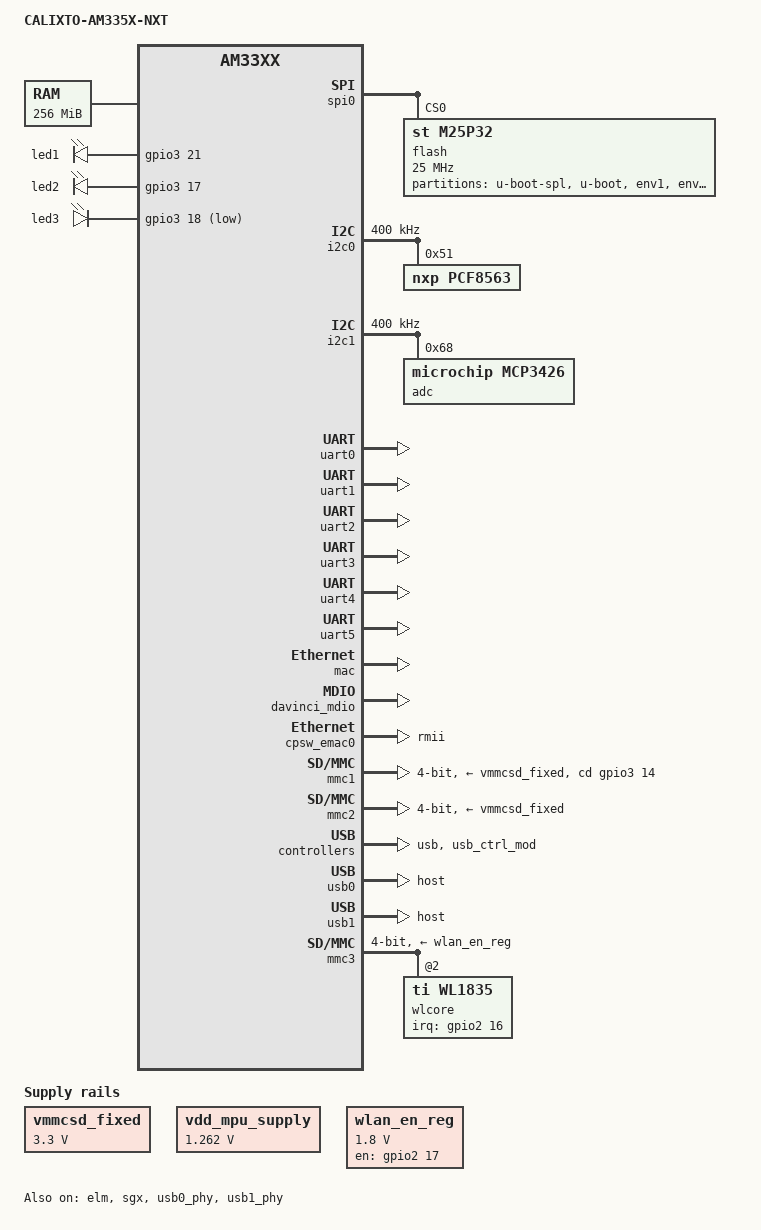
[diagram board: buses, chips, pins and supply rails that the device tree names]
/*
 * Copyright (C) 2014 Calixto Systems Pvt Ltd - http://www.calixto.co.in/
 *
 * This program is free software; you can redistribute it and/or modify
 * it under the terms of the GNU General Public License version 2 as
 * published by the Free Software Foundation.
 */

/*
 * AM335x CALIXTO STAMP EVM
 * http:// http://www.calixto.co.in/
 * Modified from am335x-evmsk
 * Modified by Jithin Shyam <jithin.s@calixto.in>
 */

/dts-v1/;

#include "am33xx.dtsi"
#include <dt-bindings/pwm/pwm.h>
#include <dt-bindings/interrupt-controller/irq.h>

/ {
	model = "CALIXTO-AM335X-NXT";
	compatible = "ti,am335x-calixto-nxt", "ti,am33xx";

	cpus {
		cpu@0 {
			 cpu0-supply = <&vdd_mpu_supply>;
		};
	};

	memory {
		device_type = "memory";
		reg = <0x80000000 0x10000000>; /* 256MB */
	};

	vmmcsd_fixed: fixedregulator-sd {
		compatible = "regulator-fixed";
		regulator-name = "vmmcsd_fixed";
		regulator-min-microvolt = <3300000>;
		regulator-max-microvolt = <3300000>;
		enable-active-high;
	};

	vdd_mpu_supply: fixedregulator-mpu {
		compatible = "regulator-fixed";
		regulator-name = "vdd_mpu_supply";
		regulator-min-microvolt = <1262000>;
		regulator-max-microvolt = <1262000>;
		regulator-boot-on;
	};

	wlan_en_reg: fixedregulator@3 {
		compatible = "regulator-fixed";
		regulator-name = "wlan-en-regulator";
		regulator-min-microvolt = <1800000>;
		regulator-max-microvolt = <1800000>;

		/* WL_EN */
		gpio = <&gpio2 17 GPIO_ACTIVE_HIGH>;
		enable-active-high;
		
		/* startup-delay-us = <70000>; */

	};
	
	leds {
		pinctrl-names = "default", "sleep";
		pinctrl-0 = <&user_leds_default>;
		pinctrl-1 = <&user_leds_sleep>;

		compatible = "gpio-leds";

		led@1 {
			label = "led1";
			gpios = <&gpio3 21 GPIO_ACTIVE_HIGH>;
			linux,default-trigger = "heartbeat";
			default-state = "on";
		};
		led@2 {
			label = "led2";
			gpios = <&gpio3 17 GPIO_ACTIVE_HIGH>;
			linux,default-trigger = "heartbeat";
			default-state = "on";
		};
		led@3 {
			label = "led3";
			gpios = <&gpio3 18 GPIO_ACTIVE_LOW>;
			linux,default-trigger = "low";
			default-state = "on";
		};

	};

	gpio_buttons: gpio_buttons@0 {
		compatible = "gpio-keys";
		pinctrl-names = "default";
		pinctrl-0 = <&gpio_keys_s0>;
		#address-cells = <1>;
		#size-cells = <0>;


	};
};


&am33xx_pinmux {

	pinctrl-names = "default";
	pinctrl-0 = <&clkout2_pin>;

	mmc3_pins_default: mmc3_pins_default {
		pinctrl-single,pins = <
			0x8c  ( PIN_INPUT_PULLUP | MUX_MODE3 ) /* (V12) gpmc_clk.mmc2_clk */
			0x88  ( PIN_INPUT_PULLUP | MUX_MODE3 ) /* (T13) gpmc_csn3.mmc2_cmd */
			0x118 ( PIN_INPUT_PULLUP | MUX_MODE5 ) /* (J17) gmii1_rxdv.mmc2_dat0 */
			0x48  ( PIN_INPUT_PULLUP | MUX_MODE3 ) /* (U14) gpmc_a2.mmc2_dat1 */
			0x4c  ( PIN_INPUT_PULLUP | MUX_MODE3 ) /* (T14) gpmc_a3.mmc2_dat2 */
			0x108 ( PIN_INPUT_PULLUP | MUX_MODE5 ) /* (H16) gmii1_col.mmc2_dat3 */
		>;
	};

	mmc3_pins_sleep: mmc3_pins_sleep {
		pinctrl-single,pins = <
			0x8c  ( PIN_INPUT_PULLDOWN | MUX_MODE7 ) /* (V12) gpmc_clk.mmc2_clk */
			0x88  ( PIN_INPUT_PULLDOWN | MUX_MODE7 ) /* (T13) gpmc_csn3.mmc2_cmd */
			0x118 ( PIN_INPUT_PULLDOWN | MUX_MODE7 ) /* (J17) gmii1_rxdv.mmc2_dat0 */
			0x48  ( PIN_INPUT_PULLDOWN | MUX_MODE7 ) /* (J18) gmii1_txd3.mmc2_dat1 */
			0x4c  ( PIN_INPUT_PULLDOWN | MUX_MODE7 ) /* (K15) gmii1_txd2.mmc2_dat2 */
			0x108 ( PIN_INPUT_PULLDOWN | MUX_MODE7 ) /* (H16) gmii1_col.mmc2_dat3 */
		>;
	};


	/* wl18xx enable/irq GPIOs. */
	wlan_pins_default: wlan_pins_default {
		pinctrl-single,pins = <
			0xc8 ( PIN_INPUT | MUX_MODE7 ) /* (U3) lcd_data10.gpio2[16] WLAN_IRQ*/
			0xcc ( PIN_OUTPUT | MUX_MODE7 ) /* (U4) lcd_data11.gpio2[17] WLAN_EN*/
		>;
	};

	/* wl18xx enable/irq GPIOs. */
	wlan_pins_sleep: wlan_pins_sleep {
		pinctrl-single,pins = <
			0xc8 ( PIN_INPUT_PULLDOWN | MUX_MODE7  ) /* (U3) lcd_data10.gpio2[16] WLAN_IRQ */
			0xcc ( PIN_INPUT_PULLDOWN | MUX_MODE7  ) /* (U4) lcd_data11.gpio2[17] WLAN_EN  */
		>;
	};

	user_leds_default: user_leds_default {
		pinctrl-single,pins = <                       
			0x194 ( PIN_OUTPUT_PULLDOWN | MUX_MODE7 ) /* (B13) mcasp0_fsx.gpio3[15] 3.7V EN*/
			0x19c ( PIN_OUTPUT_PULLDOWN | MUX_MODE7 ) /* (C12) mcasp0_ahclkr.gpio3[17] LED2*/
			0x1ac ( PIN_OUTPUT_PULLDOWN | MUX_MODE7 ) /* (A14) mcasp0_ahclkx.gpio3[21] LED1*/
			0xe0 ( PIN_OUTPUT_PULLDOWN | MUX_MODE7 ) /* (U5) lcd_vsync.gpio2[22] Relay 1*/
			0xe4 ( PIN_OUTPUT_PULLDOWN | MUX_MODE7 ) /* (R5) lcd_hsync.gpio2[23] Relay 2*/
		>;
	};

	user_leds_sleep: user_leds_sleep {
		pinctrl-single,pins = <
			0x194 ( PIN_INPUT_PULLDOWN | MUX_MODE7 ) /* (B13) mcasp0_fsx.gpio3[15] 3.7V EN*/
			0x19c ( PIN_INPUT_PULLDOWN | MUX_MODE7 ) /* (C12) mcasp0_ahclkr.gpio3[17] LED2*/
			0x1ac ( PIN_INPUT_PULLDOWN | MUX_MODE7 ) /* (A14) mcasp0_ahclkx.gpio3[21] LED1*/
			0xe0 ( PIN_INPUT_PULLDOWN | MUX_MODE7 ) /* (U5) lcd_vsync.gpio2[22] Relay 1*/
			0xe4 ( PIN_INPUT_PULLDOWN | MUX_MODE7 ) /* (R5) lcd_hsync.gpio2[23] Relay 2*/
		>;
	};


	gpio_keys_s0: gpio_keys_s0 {
		pinctrl-single,pins = <
			0xe8 ( PIN_INPUT_PULLUP | MUX_MODE7 ) /* (V5) lcd_pclk.gpio2[24] */
			0xec ( PIN_INPUT_PULLUP | MUX_MODE7 ) /* (R6) lcd_ac_bias_en.gpio2[25] */
		>;
	};

	i2c0_pins: pinmux_i2c0_pins {
		pinctrl-single,pins = <
			0x18c ( PIN_INPUT_PULLUP | MUX_MODE0 ) /* (C16) I2C0_SCL.I2C0_SCL */
			0x188 ( PIN_INPUT_PULLUP | MUX_MODE0 ) /* (C17) I2C0_SDA.I2C0_SDA */
			0x134 ( PIN_INPUT | MUX_MODE7 ) /* (L17) gmii1_rxd3.gpio2[18] */
		>;
	};

	i2c1_pins: pinmux_i2c1_pins {
		pinctrl-single,pins = <
			0x16c ( PIN_INPUT_PULLUP | MUX_MODE3 ) /* (E17) uart0_rtsn.I2C1_SCL */
			0x168 ( PIN_INPUT_PULLUP | MUX_MODE3 ) /* (E18) uart0_ctsn.I2C1_SDA */
		>;
	};

	spi0_pins: pinmux_spi0_pins {
		pinctrl-single,pins = <
			0x150 ( PIN_INPUT_PULLUP | MUX_MODE0 ) /* (A17) spi0_sclk.spi0_sclk */
			0x154 ( PIN_INPUT_PULLUP | MUX_MODE0 ) /* (B17) spi0_d0.spi0_d0 */
			0x158 ( PIN_OUTPUT_PULLUP | MUX_MODE0 ) /* (B16) spi0_d1.spi0_d1 */
			0x15c ( PIN_OUTPUT_PULLUP | MUX_MODE0 ) /* (A16) spi0_cs0.spi0_cs0 */
		>;
	};


	uart0_pins: pinmux_uart0_pins {
		pinctrl-single,pins = <
			0x170 (PIN_INPUT_PULLUP    | MUX_MODE0)	 /* uart0_rxd.uart0_rxd */
			0x174 (PIN_OUTPUT_PULLDOWN | MUX_MODE0)  /* uart0_txd.uart0_txd */
		>;
	};

	uart1_pins: pinmux_uart1_pins {
		pinctrl-single,pins = <
			0x180 ( PIN_INPUT_PULLUP | MUX_MODE0 ) 	  /* (D16) uart1_rxd.uart1_rxd */
			0x184 ( PIN_OUTPUT_PULLDOWN | MUX_MODE0 ) /* (D15) uart1_txd.uart1_txd */
			0x178 ( PIN_INPUT_PULLUP | MUX_MODE0 )    /* (D18) uart1_ctsn.uart1_ctsn */
			0x17c ( PIN_OUTPUT_PULLDOWN | MUX_MODE0 ) /* (D17) uart1_rtsn.uart1_rtsn */
			0x1a0 ( PIN_OUTPUT_PULLDOWN | MUX_MODE7 ) /* (B12) mcasp0_aclkr.gpio3[18] 3G RESET*/
			0xd0 ( PIN_OUTPUT_PULLDOWN | MUX_MODE7 )  /* (V2) lcd_data12.gpio0[8] 3G ON-OFF*/
		>;
	};

	uart2_pins: pinmux_uart2_pins {
		pinctrl-single,pins = <
			0x12c ( PIN_INPUT_PULLUP | MUX_MODE1 )    /* (K18) gmii1_txclk.uart2_rxd RS232_1_RX*/
			0x130 ( PIN_OUTPUT_PULLDOWN | MUX_MODE1 ) /* (L18) gmii1_rxclk.uart2_txd RS232_1_TX*/
		>;
	};

	uart3_pins: pinmux_uart3_pins {
		pinctrl-single,pins = <
			0x160 ( PIN_INPUT_PULLUP | MUX_MODE1 )    /* (C15) spi0_cs1.uart3_rxd   RS485_1_RX*/
			0x138 ( PIN_OUTPUT_PULLDOWN | MUX_MODE1 ) /* (L16) gmii1_rxd2.uart3_txd RS485_1_TX*/
		>;
	};

	uart4_pins: pinmux_uart4_pins {
		pinctrl-single,pins = <
			0x11c ( PIN_INPUT_PULLUP | MUX_MODE3 )    /* (J18) gmii1_txd3.uart4_rxd RS485_2_RX*/
			0x120 ( PIN_OUTPUT_PULLDOWN | MUX_MODE3 ) /* (K15) gmii1_txd2.uart4_txd RS485_2_TX*/
		>;
	};

	uart5_pins: pinmux_uart5_pins {
		pinctrl-single,pins = <
			0xc4 ( PIN_INPUT_PULLUP | MUX_MODE4 )    /* (U2) lcd_data9.uart5_rxd RS232_2_RX*/
			0xc0 ( PIN_OUTPUT_PULLDOWN | MUX_MODE4 ) /* (U1) lcd_data8.uart5_txd RS232_2_TX*/
		>;
	};


	cpsw_default: cpsw_default {
		pinctrl-single,pins = <
			/* Slave 1 */
			0x10c (PIN_INPUT_PULLDOWN  | MUX_MODE1)  /* mii1_crs.rmii1_crs_dv */
			0x110 (PIN_INPUT_PULLDOWN  | MUX_MODE1)  /* mii1_rxerr.mii1_rxerr */
			0x114 (PIN_OUTPUT_PULLDOWN | MUX_MODE1)  /* mii1_txen.mii1_txen   */
			0x124 (PIN_OUTPUT_PULLDOWN | MUX_MODE1)  /* mii1_txd1.mii1_txd1   */
			0x128 (PIN_OUTPUT_PULLDOWN | MUX_MODE1)  /* mii1_txd0.mii1_txd0   */
			0x13c (PIN_INPUT_PULLDOWN  | MUX_MODE1)  /* mii1_rxd1.mii1_rxd2   */
			0x140 (PIN_INPUT_PULLDOWN  | MUX_MODE1)  /* mii1_rxd0.mii1_rxd0   */
			0x144 (PIN_INPUT_PULLDOWN  | MUX_MODE0)  /* rmii1_refclk.rmii1_refclk */
		>;
	};

	cpsw_sleep: cpsw_sleep {
		pinctrl-single,pins = <
			/* Slave 1 reset value */
			0x10c (PIN_INPUT_PULLDOWN | MUX_MODE7)
			0x110 (PIN_INPUT_PULLDOWN | MUX_MODE7)
			0x114 (PIN_INPUT_PULLDOWN | MUX_MODE7)
			0x124 (PIN_INPUT_PULLDOWN | MUX_MODE7)
			0x128 (PIN_INPUT_PULLDOWN | MUX_MODE7)
			0x13c (PIN_INPUT_PULLDOWN | MUX_MODE7)
			0x140 (PIN_INPUT_PULLDOWN | MUX_MODE7)
			0x144 (PIN_INPUT_PULLDOWN | MUX_MODE7)
		>;
	};

       clkout2_pin: pinmux_clkout2_pin {
                pinctrl-single,pins = <
                        0x1B4 (PIN_OUTPUT_PULLDOWN | MUX_MODE3) /* xdma_event_intr1.clkout2 */
                >;
        };

	davinci_mdio_default: davinci_mdio_default {
		pinctrl-single,pins = <
			/* MDIO */
			0x148 (PIN_INPUT_PULLUP  | SLEWCTRL_FAST | MUX_MODE0)	/* mdio_data.mdio_data */
			0x14c (PIN_OUTPUT_PULLUP | MUX_MODE0)			/* mdio_clk.mdio_clk */
		>;
	};

	davinci_mdio_sleep: davinci_mdio_sleep {
		pinctrl-single,pins = <
			/* MDIO reset value */
			0x148 (PIN_INPUT_PULLDOWN | MUX_MODE7)
			0x14c (PIN_INPUT_PULLDOWN | MUX_MODE7)
		>;
	};

	mmc1_pins_default: pinmux_mmc1_pins {
		pinctrl-single,pins = <
			0x0F0 (PIN_INPUT_PULLUP | MUX_MODE0)    /* mmc0_dat3.mmc0_dat3 */
			0x0F4 (PIN_INPUT_PULLUP | MUX_MODE0)    /* mmc0_dat2.mmc0_dat2 */
			0x0F8 (PIN_INPUT_PULLUP | MUX_MODE0)    /* mmc0_dat1.mmc0_dat1 */
			0x0FC (PIN_INPUT_PULLUP | MUX_MODE0)    /* mmc0_dat0.mmc0_dat0 */
			0x100 (PIN_INPUT_PULLUP | MUX_MODE0)    /* mmc0_clk.mmc0_clk */
			0x104 (PIN_INPUT_PULLUP | MUX_MODE0)    /* mmc0_cmd.mmc0_cmd */
		/*	0x190 (PIN_INPUT | MUX_MODE7) 	*/	/* mcasp0_aclkx.gpio3_14 */
		>;
	};

	mmc1_pins_sleep: pinmux_mmc1_pins_sleep {
		pinctrl-single,pins = <
			0x0F0 (PIN_INPUT_PULLDOWN | MUX_MODE7)
			0x0F4 (PIN_INPUT_PULLDOWN | MUX_MODE7)
			0x0F8 (PIN_INPUT_PULLDOWN | MUX_MODE7)
			0x0FC (PIN_INPUT_PULLDOWN | MUX_MODE7)
			0x100 (PIN_INPUT_PULLDOWN | MUX_MODE7)
			0x104 (PIN_INPUT_PULLDOWN | MUX_MODE7)
			0x190 (PIN_INPUT_PULLDOWN | MUX_MODE7)
		>;
	};

	emmc_pins: pinmux_emmc_pins {
		pinctrl-single,pins = <
		0x80 ( PIN_INPUT_PULLUP | MUX_MODE2 ) /* (U9) gpmc_csn1.mmc1_clk */
		0x84 ( PIN_INPUT_PULLUP | MUX_MODE2 ) /* (V9) gpmc_csn2.mmc1_cmd */
		0x00 ( PIN_INPUT_PULLUP | MUX_MODE1 ) /* (U7) gpmc_ad0.mmc1_dat0 */
		0x04 ( PIN_INPUT_PULLUP | MUX_MODE1 ) /* (V7) gpmc_ad1.mmc1_dat1 */
		0x08 ( PIN_INPUT_PULLUP | MUX_MODE1 ) /* (R8) gpmc_ad2.mmc1_dat2 */
		0x0c ( PIN_INPUT_PULLUP | MUX_MODE1 ) /* (T8) gpmc_ad3.mmc1_dat3 */
		>;
	};	

	mcasp0_pins: mcasp0_pins {
		pinctrl-single,pins = <
			0x12C (PIN_INPUT_PULLDOWN  | MUX_MODE6) /* mii1_txclk.mcasp0_aclkx */
			0x194 (PIN_INPUT_PULLDOWN  | MUX_MODE0) /* mcasp0_fsx.mcasp0_fsx   */
			0x134 (PIN_OUTPUT_PULLDOWN | MUX_MODE6) /* mii1_rxd3.mcasp0_axr0   */
			0x1A8 (PIN_INPUT_PULLDOWN  | MUX_MODE0) /* mcasp0_axr1.mcasp0_axr1 */
		>;
	};

	mcasp0_sleep_pins: mcasp0_sleep_pins {
		pinctrl-single,pins = <
			0x12C (PIN_INPUT_PULLDOWN | MUX_MODE7)
			0x194 (PIN_INPUT_PULLDOWN | MUX_MODE7)
			0x134 (PIN_INPUT_PULLDOWN | MUX_MODE7)
			0x1A8 (PIN_INPUT_PULLDOWN | MUX_MODE7)
		>;
	};



};

&elm {
	status = "okay";
};

/*
 * SPI Flash (8MiB)
 * 0x000000 - 0x01FFFF : SPL (128KiB)
 * 0x020000 - 0x09FFFF : U-Boot (512KiB)
 * 0x0A0000 - 0x0BFFFF : First copy of U-Boot Environment (128KiB)
 * 0x0C0000 - 0x0DFFFF : Second copy of U-Boot Environment (128KiB)
 * 0x0E0000 - 0x0FFFFF : device tree blob (Not used now) (128KiB)
 * 0x100000 - 0x800000 : Application data (7MiB)
 */

&spi0 {
	pinctrl-names = "default";
	pinctrl-0 = <&spi0_pins>;
	status = "okay";

	flash: n25q032@0 {
		 #address-cells = <1>;
		 #size-cells = <1>;
		 compatible = "st,m25p32";
		 spi-max-frequency = <25000000>;
		 reg = <0>;


		 partition@0 {
			 label = "u-boot-spl";
			 reg = <0x000000 0x020000>;
		 };


		 partition@1 {
			 label = "u-boot";
			 reg = <0x020000 0x080000>;
		 };

		 partition@2 {
			 label = "env1";
			 reg = <0x0A0000 0x020000>;
		 };

		 partition@3 {
			 label = "env2";
			 reg = <0x0C0000 0x020000>;
		 };
/*
		 partition@4 {
			 label = "device-tree-blob";
			 reg = <0x0E0000 0x020000>;
		 };
*/
		 partition@5 {
			 label = "app-data";
			 reg = <0x100000 0x700000>;
		 };

	};
};


&i2c0 {
	pinctrl-names = "default";
	pinctrl-0 = <&i2c0_pins>;
	status = "okay";
	clock-frequency = <400000>;

	pcf8563: pcf8563@51 {
		compatible = "nxp,pcf8563";
		reg = <0x51>;
	};

};

&i2c1 {
	pinctrl-names = "default";
	pinctrl-0 = <&i2c1_pins>;
	status = "okay";
	clock-frequency = <400000>;

	adc@0 {
		compatible = "microchip,mcp3426";
		reg = <0x68>;
	};

	/*mcp3422: mcp3422@68 {*/
	/*	compatible = "mcp,mcp3422";*/
	/*	reg = <0x68>;*/
	/*};*/	

};

&uart0 {
        pinctrl-names = "default";
        pinctrl-0 = <&uart0_pins>;

        status = "okay";
};

&uart1 {
        pinctrl-names = "default";
        pinctrl-0 = <&uart1_pins>;

        status = "okay";
};

&uart2 {
        pinctrl-names = "default";
        pinctrl-0 = <&uart2_pins>;

        status = "okay";
};

&uart3 {
        pinctrl-names = "default";
        pinctrl-0 = <&uart3_pins>;

        status = "okay";
};

&uart4 {
        pinctrl-names = "default";
        pinctrl-0 = <&uart4_pins>;

        status = "okay";
};

&uart5 {
        pinctrl-names = "default";
        pinctrl-0 = <&uart5_pins>;

        status = "okay";
};

&mac {
	slaves = <1>;
	pinctrl-names = "default", "sleep";
	pinctrl-0 = <&cpsw_default>;
	pinctrl-1 = <&cpsw_sleep>;
	status = "okay";
};

&davinci_mdio {
	pinctrl-names = "default", "sleep";
	pinctrl-0 = <&davinci_mdio_default>;
	pinctrl-1 = <&davinci_mdio_sleep>;
	status = "okay";
};

&cpsw_emac0 {
	phy_id = <&davinci_mdio>, <0>;
	phy-mode = "rmii";
	dual_emac_res_vlan = <1>;
};

&phy_sel {
	rmii-clock-ext;
};

&mmc1 {
        status = "okay";
        vmmc-supply = <&vmmcsd_fixed>;
        bus-width = <4>;
        pinctrl-names = "default", "sleep";
        pinctrl-0 = <&mmc1_pins_default>;
        pinctrl-1 = <&mmc1_pins_sleep>;
	cd-gpios = <&gpio3 14 GPIO_ACTIVE_HIGH>;
};

&mmc2 {
	status = "okay";
	pinctrl-names = "default";
	pinctrl-0 = <&emmc_pins>;
        vmmc-supply = <&vmmcsd_fixed>;
	bus-width = <4>;
	ti,non-removable;
};


&rtc {
	system-power-controller;
};

&sgx {
      status = "okay";
};

&usb {
        status = "okay";
};

&usb_ctrl_mod {
        status = "okay";
};

&usb0_phy {
        status = "okay";
};

&usb1_phy {
        status = "okay";
};

&usb0 {
        status = "okay";
	dr_mode = "host";
};

&usb1 {
        status = "okay";
	dr_mode = "host";
};

&cppi41dma  {
     status = "okay";
};

&mmc3 {
	status = "okay";
	vmmc-supply = <&wlan_en_reg>;
	bus-width = <4>;
	pinctrl-names = "default" , "sleep" ;
	pinctrl-0 = <&mmc3_pins_default &wlan_pins_default>;
	pinctrl-1 = <&mmc3_pins_sleep &wlan_pins_sleep>;
	ti,non-removable;
	ti,needs-special-hs-handling;
	cap-power-off-card;
	keep-power-in-suspend;

	#address-cells = <1>;
	#size-cells = <0>;

        dmas = <&edma_xbar 12 0 1
                &edma_xbar 13 0 2>;
        dma-names = "tx", "rx";

	wlcore: wlcore@0 {
		compatible = "ti,wl1835";
		reg = <2>;
		interrupt-parent = <&gpio2>;
		interrupts = <16 IRQ_TYPE_EDGE_RISING>;
	};
};
